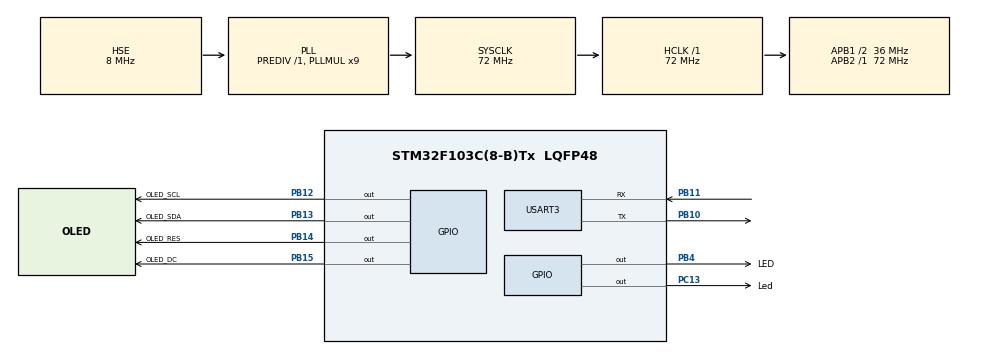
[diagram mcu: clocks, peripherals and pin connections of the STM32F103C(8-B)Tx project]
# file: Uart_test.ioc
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FREERTOS.BinarySemaphores01=myBinarySem01,Dynamic,NULL,Available
FREERTOS.Tasks01=defaultTask,24,128,StartDefaultTask,Default,NULL,Dynamic,NULL,NULL;U3_Task,24,128,Start_U3_Task,Default,NULL,Dynamic,NULL,NULL
Mcu.Family=STM32F1
Mcu.Name=STM32F103C(8-B)Tx
Mcu.Package=LQFP48
NVIC.PriorityGroup=NVIC_PRIORITYGROUP_4
NVIC.TIM3_IRQn=true\:5\:0\:false\:false\:true\:true\:true\:true\:true
NVIC.TIM4_IRQn=true\:15\:0\:false\:false\:true\:false\:false\:true\:true
NVIC.TimeBase=TIM4_IRQn
NVIC.TimeBaseIP=TIM4
NVIC.USART3_IRQn=true\:5\:0\:false\:false\:true\:true\:true\:true\:true
PA13.Mode=Serial_Wire
PA13.Signal=SYS_JTMS-SWDIO
PA14.Mode=Serial_Wire
PA14.Signal=SYS_JTCK-SWCLK
PB10.Mode=Asynchronous
PB10.Signal=USART3_TX
PB11.Mode=Asynchronous
PB11.Signal=USART3_RX
PB12.GPIO_Label=OLED_SCL
PB12.Signal=GPIO_Output
PB13.GPIO_Label=OLED_SDA
PB13.Signal=GPIO_Output
PB14.GPIO_Label=OLED_RES
PB14.Signal=GPIO_Output
PB15.GPIO_Label=OLED_DC
PB15.Signal=GPIO_Output
PB4.GPIO_Label=LED
PB4.Signal=GPIO_Output
PC13-TAMPER-RTC.GPIO_Label=Led
PC13-TAMPER-RTC.Signal=GPIO_Output
PD0-OSC_IN.Mode=HSE-External-Oscillator
PD0-OSC_IN.Signal=RCC_OSC_IN
PD1-OSC_OUT.Mode=HSE-External-Oscillator
PD1-OSC_OUT.Signal=RCC_OSC_OUT
ProjectManager.HeapSize=0x200
ProjectManager.StackSize=0x400
ProjectManager.TargetToolchain=MDK-ARM V5.32
RCC.AHBFreq_Value=72000000
RCC.APB1CLKDivider=RCC_HCLK_DIV2
RCC.APB1Freq_Value=36000000
RCC.APB1TimFreq_Value=72000000
RCC.APB2Freq_Value=72000000
RCC.APB2TimFreq_Value=72000000
RCC.HCLKFreq_Value=72000000
RCC.PLLMUL=RCC_PLL_MUL9
RCC.PLLSourceVirtual=RCC_PLLSOURCE_HSE
RCC.SYSCLKFreq_VALUE=72000000
RCC.SYSCLKSource=RCC_SYSCLKSOURCE_PLLCLK
RCC.USBFreq_Value=72000000
TIM3.Period=50-1
TIM3.Prescaler=7200-1
USART3.VirtualMode=VM_ASYNC
VP_FREERTOS_VS_CMSIS_V2.Mode=CMSIS_V2
VP_SYS_VS_tim4.Mode=TIM4
VP_TIM3_VS_ClockSourceINT.Mode=Internal
board=custom

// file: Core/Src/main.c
/* USER CODE BEGIN Header */
/**
  ******************************************************************************
  * @file           : main.c
  * @brief          : Main program body
  ******************************************************************************
  * @attention
  *
  * Copyright (c) 2024 STMicroelectronics.
  * All rights reserved.
  *
  * This software is licensed under terms that can be found in the LICENSE file
  * in the root directory of this software component.
  * If no LICENSE file comes with this software, it is provided AS-IS.
  *
  ******************************************************************************
  */
/* USER CODE END Header */
#include "main.h"
#include "cmsis_os.h"
#include "tim.h"
#include "usart.h"
#include "gpio.h"

/* USER CODE BEGIN PV */
/********************************************************************************/
uint8_t RxBuffer[MAX_REC_LENGTH] = {0};		//串口数据存储BUFF		长度2048
uint8_t RxFlag = 0;							//串口接收完成标志符
uint16_t RxCounter = 0;						//串口长度计数
uint8_t RxTemp[REC_LENGTH] = {0};			//串口数据接收暂存BUFF	长度1

extern osSemaphoreId myBinarySem01Handle;	//操作系统定义的互斥量
/********************************************************************************/
/* USER CODE END PV */

void SystemClock_Config(void);
void MX_FREERTOS_Init(void);

int main(void)
{

  /* MCU Configuration--------------------------------------------------------*/

  /* Reset of all peripherals, Initializes the Flash interface and the Systick. */
  HAL_Init();

  /* Configure the system clock */
  SystemClock_Config();

  /* Initialize all configured peripherals */
  MX_GPIO_Init();
  MX_TIM3_Init();
  MX_USART3_UART_Init();

  /* Init scheduler */
  osKernelInitialize();

  /* Call init function for freertos objects (in cmsis_os2.c) */
  MX_FREERTOS_Init();

  /* Start scheduler */
  osKernelStart();

  /* We should never get here as control is now taken by the scheduler */

  /* Infinite loop */
  while (1)
  {

  }
}

void SystemClock_Config(void)
{
  RCC_OscInitTypeDef RCC_OscInitStruct = {0};
  RCC_ClkInitTypeDef RCC_ClkInitStruct = {0};

  /** Initializes the RCC Oscillators according to the specified parameters
  * in the RCC_OscInitTypeDef structure.
  */
  RCC_OscInitStruct.OscillatorType = RCC_OSCILLATORTYPE_HSE;
  RCC_OscInitStruct.HSEState = RCC_HSE_ON;
  RCC_OscInitStruct.HSEPredivValue = RCC_HSE_PREDIV_DIV1;
  RCC_OscInitStruct.HSIState = RCC_HSI_ON;
  RCC_OscInitStruct.PLL.PLLState = RCC_PLL_ON;
  RCC_OscInitStruct.PLL.PLLSource = RCC_PLLSOURCE_HSE;
  RCC_OscInitStruct.PLL.PLLMUL = RCC_PLL_MUL9;
  if (HAL_RCC_OscConfig(&RCC_OscInitStruct) != HAL_OK)
  {
    Error_Handler();
  }

  /** Initializes the CPU, AHB and APB buses clocks
  */
  RCC_ClkInitStruct.ClockType = RCC_CLOCKTYPE_HCLK|RCC_CLOCKTYPE_SYSCLK
                              |RCC_CLOCKTYPE_PCLK1|RCC_CLOCKTYPE_PCLK2;
  RCC_ClkInitStruct.SYSCLKSource = RCC_SYSCLKSOURCE_PLLCLK;
  RCC_ClkInitStruct.AHBCLKDivider = RCC_SYSCLK_DIV1;
  RCC_ClkInitStruct.APB1CLKDivider = RCC_HCLK_DIV2;
  RCC_ClkInitStruct.APB2CLKDivider = RCC_HCLK_DIV1;

  if (HAL_RCC_ClockConfig(&RCC_ClkInitStruct, FLASH_LATENCY_2) != HAL_OK)
  {
    Error_Handler();
  }
}

/* USER CODE BEGIN 4 */
/********************************************************************************/
void HAL_UART_RxCpltCallback(UART_HandleTypeDef *huart)//串口3接收完成回调函数
{
	if(huart->Instance == USART3)
	{
		__HAL_TIM_SET_COUNTER(&htim3,0);							//清除定时器7计数值
		if(0 == RxCounter)											//如果是首字符（每帧数据开头）则开启定时器
		{
			__HAL_TIM_CLEAR_FLAG(&htim3, TIM_FLAG_UPDATE);			//清除中断标志位
			HAL_TIM_Base_Start_IT(&htim3);							//开启基本定时器
		}
		RxBuffer[RxCounter] = RxTemp[0];							//缓存数据放入接收数组
		RxCounter++;												//计数器加1
		HAL_UART_Receive_IT(&huart3,(uint8_t *)RxTemp, REC_LENGTH);	//重新使能中断
	}
}
/********************************************************************************/

/* USER CODE END 4 */

void HAL_TIM_PeriodElapsedCallback(TIM_HandleTypeDef *htim)
{
  if (htim->Instance == TIM4) {
    HAL_IncTick();
  }
  /* USER CODE BEGIN Callback 1 */
	/********************************************************************************/
	if(htim->Instance == TIM3)
	{
		HAL_GPIO_TogglePin(Led_GPIO_Port, Led_Pin);	//LED反转一次
		RxFlag = 1;																	//接收标志位置1
		HAL_TIM_Base_Stop_IT(&htim3);								//关闭定时器
		osSemaphoreRelease(myBinarySem01Handle);		//释放二值信号量，进入串口任务
	}
	/********************************************************************************/
  /* USER CODE END Callback 1 */
}

void Error_Handler(void)
{
  __disable_irq();
  while (1)
  {
  }
}

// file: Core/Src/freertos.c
/* USER CODE BEGIN Header */
/**
  ******************************************************************************
  * File Name          : freertos.c
  * Description        : Code for freertos applications
  ******************************************************************************
  * @attention
  *
  * Copyright (c) 2024 STMicroelectronics.
  * All rights reserved.
  *
  * This software is licensed under terms that can be found in the LICENSE file
  * in the root directory of this software component.
  * If no LICENSE file comes with this software, it is provided AS-IS.
  *
  ******************************************************************************
  */
/* USER CODE END Header */

#include "FreeRTOS.h"
#include "task.h"
#include "main.h"
#include "cmsis_os.h"

/* USER CODE BEGIN Includes */
/********************************************************************************/
#include "usart.h"
#include "stdio.h"
#include "string.h"
#include "queue.h"
#include "semphr.h"
#include "driver_oled.h"
#include "driver_led.h"
/********************************************************************************/
/* USER CODE END Includes */

/* USER CODE BEGIN Variables */
SemaphoreHandle_t Mutex;
SemaphoreHandle_t UartMutex;
/* USER CODE END Variables */
/* Definitions for defaultTask */
osThreadId_t defaultTaskHandle;
const osThreadAttr_t defaultTask_attributes = {
  .name = "defaultTask",
  .stack_size = 128 * 4,
  .priority = (osPriority_t) osPriorityNormal,
};
/* Definitions for U3_Task */
osThreadId_t U3_TaskHandle;
const osThreadAttr_t U3_Task_attributes = {
  .name = "U3_Task",
  .stack_size = 128 * 4,
  .priority = (osPriority_t) osPriorityNormal,
};
/* Definitions for myBinarySem01 */
osSemaphoreId_t myBinarySem01Handle;
const osSemaphoreAttr_t myBinarySem01_attributes = {
  .name = "myBinarySem01"
};

/* USER CODE BEGIN FunctionPrototypes */
void ESP8266_Init(void *param)
{
	vTaskDelay(2000);
	//printf("AT+RST\r\n");
	//vTaskDelay(4000);					//延迟

	//printf("AT+CWMODE=1\r\n");
	//vTaskDelay(2000);					//延迟

	printf("AT+CIPSNTPCFG=1,8,\"ntp1.aliyun.com\"\r\n");
	vTaskDelay(3000);					//延迟

	printf("AT+MQTTUSERCFG=0,1,\"NULL\",\"test&k1lw9Pvlhqb\",\"e26302683d20ace5d3547dc56fc8c6b16acec78e3108fea1e130f68e3bc3a502\",0,0,\"\"\r\n");
	vTaskDelay(3000);					//延迟

	printf("AT+MQTTCLIENTID=0,\"k1lw9Pvlhqb.test|securemode=2\\,signmethod=hmacsha256\\,timestamp=1722156774612|\"\r\n");
	vTaskDelay(3000);					//延迟

	printf("AT+MQTTCONN=0,\"iot-06z00e5p5s5m01p.mqtt.iothub.aliyuncs.com\",1883,1\r\n");
	vTaskDelay(6000);					//延迟
//连接阿里云，让设备在线
//---------------------------------------------------------
//订阅发布指令
	printf("AT+MQTTSUB=0,\"/k1lw9Pvlhqb/test/user/get\",1\r\n");		//订阅指令
	vTaskDelay(5000);			//延迟
	xSemaphoreGiveRecursive(Mutex);
	vTaskDelete(NULL);
}

void MQTT_Send(void *param)
{
	while(1)
	{
		xSemaphoreTakeRecursive(Mutex, portMAX_DELAY);
		printf("AT+MQTTPUB=0,\"/k1lw9Pvlhqb/test/user/update\",\"{\\\"LEDSwitch\\\":%d}\",1,0\r\n", (int)param);		//发数据{"LEDSwitch":1}
		vTaskDelay(5000);			//延迟
		vTaskDelete(NULL);
	}
}

/* USER CODE END FunctionPrototypes */

void StartDefaultTask(void *argument);
void Start_U3_Task(void *argument);

void MX_FREERTOS_Init(void); /* (MISRA C 2004 rule 8.1) */

void MX_FREERTOS_Init(void) {
  /* USER CODE BEGIN Init */
	OLED_Init();
	OLED_Clear();
  /* USER CODE END Init */

  /* USER CODE BEGIN RTOS_MUTEX */
  /* add mutexes, ... */
	Mutex = xSemaphoreCreateRecursiveMutex();
	xSemaphoreTakeRecursive(Mutex, 0);
	UartMutex = xSemaphoreCreateRecursiveMutex();
	xSemaphoreTakeRecursive(UartMutex, 0);
  /* USER CODE END RTOS_MUTEX */

  /* Create the semaphores(s) */
  /* creation of myBinarySem01 */
  myBinarySem01Handle = osSemaphoreNew(1, 1, &myBinarySem01_attributes);

  /* Create the thread(s) */
  /* creation of defaultTask */
  defaultTaskHandle = osThreadNew(StartDefaultTask, NULL, &defaultTask_attributes);

  /* creation of U3_Task */
  U3_TaskHandle = osThreadNew(Start_U3_Task, NULL, &U3_Task_attributes);

  /* USER CODE BEGIN RTOS_THREADS */
  /* add threads, ... */
  xTaskCreate(MQTT_Send, "Send Function", 100, "1", osPriorityNormal, NULL);
  xTaskCreate(ESP8266_Init, "ESP8266 Init", 128, NULL, osPriorityNormal1, NULL);
  /* USER CODE END RTOS_THREADS */

}

void StartDefaultTask(void *argument)
{
  /* USER CODE BEGIN StartDefaultTask */
  /* Infinite loop */
	HAL_UART_Receive_IT(&huart3,(uint8_t *)RxTemp, REC_LENGTH);
  for(;;)
  {
		HAL_GPIO_TogglePin(Led_GPIO_Port,Led_Pin);
		osDelay(200);
  }
  /* USER CODE END StartDefaultTask */
}

void Start_U3_Task(void *argument)
{
  /* USER CODE BEGIN Start_U3_Task */
  /* Infinite loop */
  for(;;)
  {
    osSemaphoreAcquire(myBinarySem01Handle,100);					//等待二值信号量
	if(RxFlag == 1)													//数据接收完成
	{
		for(int i = 0; i<RxCounter; i++)							//打印接收数组存储的内容
		{
			if(RxBuffer[i] == 'X')
			{
				LED_Control(1);
				OLED_ShowString(1, 1, "OK");
			}
			if(RxBuffer[i] == 'Y')
			{
				LED_Control(0);
				OLED_ShowString(1, 1, "NO");
			}
		}
		RxFlag = 0;													//接收标志清零
		RxCounter = 0;												//接收计数清零
		memset(RxBuffer ,0, MAX_REC_LENGTH);						//清空接收数组
		xSemaphoreGiveRecursive(UartMutex);
	}
	/********************************************************************************/
    osDelay(1);
  }
  /* USER CODE END Start_U3_Task */
}
